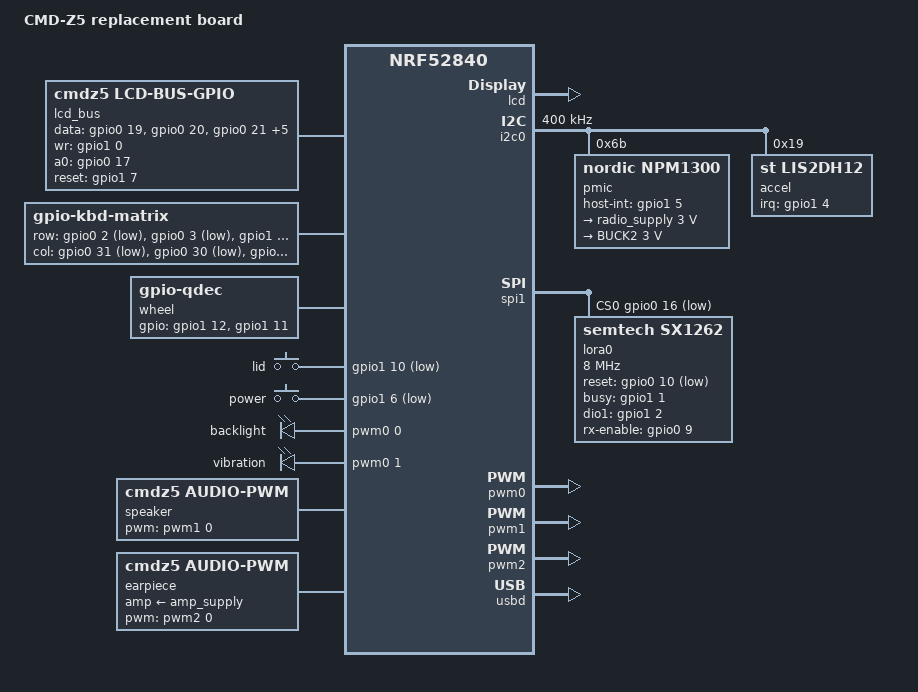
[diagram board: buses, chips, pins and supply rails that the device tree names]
/*
 * CMD-Z5 replacement board: nRF52840, Wio-SX1262, nPM1300, LIS2DH12,
 * TBS M10N GPS, original Sony CMD-Z5 display, keypad, wheel, speakers.
 * Hardware description: ../../../../board/README.md
 */

/dts-v1/;
#include <nordic/nrf52840_qiaa.dtsi>
#include <zephyr/dt-bindings/input/input-event-codes.h>
#include <zephyr/dt-bindings/input/keymap.h>
#include <zephyr/dt-bindings/lora/sx126x.h>
#include <zephyr/dt-bindings/regulator/npm13xx.h>
#include <dt-bindings/cmdz5/keys.h>
#include "cmdz5_nrf52840-pinctrl.dtsi"

/ {
	model = "CMD-Z5 replacement board";
	compatible = "befi,cmdz5";

	chosen {
		zephyr,sram = &sram0;
		zephyr,flash = &flash0;
		zephyr,code-partition = &code_partition;
	};

	/*
	 * Display bus: D0..D7 on consecutive pins P0.19..P0.26 for single
	 * masked port writes. /CS, CS and pin 9 are tied on the board.
	 */
	lcd_bus: lcd-bus {
		compatible = "cmdz5,lcd-bus-gpio";
		data-gpios = <&gpio0 19 0>, <&gpio0 20 0>, <&gpio0 21 0>, <&gpio0 22 0>,
			     <&gpio0 23 0>, <&gpio0 24 0>, <&gpio0 25 0>, <&gpio0 26 0>;
		wr-gpios = <&gpio1 0 0>;
		a0-gpios = <&gpio0 17 0>;
		reset-gpios = <&gpio1 7 0>;

		lcd: lcd {
			compatible = "sony,cmdz5-lcd";
			power-supply = <&lcd_supply>;
		};
	};

	/* 4 x 5 matrix; columns driven low one at a time, rows read with pull-ups. */
	kbd: kbd-matrix {
		compatible = "gpio-kbd-matrix";
		row-gpios = <&gpio0 2 (GPIO_PULL_UP | GPIO_ACTIVE_LOW)>,
			    <&gpio0 3 (GPIO_PULL_UP | GPIO_ACTIVE_LOW)>,
			    <&gpio1 15 (GPIO_PULL_UP | GPIO_ACTIVE_LOW)>,
			    <&gpio1 14 (GPIO_PULL_UP | GPIO_ACTIVE_LOW)>,
			    <&gpio1 13 (GPIO_PULL_UP | GPIO_ACTIVE_LOW)>;
		col-gpios = <&gpio0 31 GPIO_ACTIVE_LOW>,
			    <&gpio0 30 GPIO_ACTIVE_LOW>,
			    <&gpio0 29 GPIO_ACTIVE_LOW>,
			    <&gpio0 28 GPIO_ACTIVE_LOW>;

		keymap {
			compatible = "input-keymap";
			keymap = <MATRIX_KEY(0, 0, INPUT_KEY_1)
				  MATRIX_KEY(0, 1, INPUT_KEY_2)
				  MATRIX_KEY(0, 2, INPUT_KEY_3)
				  MATRIX_KEY(0, 3, CMDZ5_KEY_CALL)
				  MATRIX_KEY(1, 0, INPUT_KEY_4)
				  MATRIX_KEY(1, 1, INPUT_KEY_5)
				  MATRIX_KEY(1, 2, INPUT_KEY_6)
				  MATRIX_KEY(1, 3, CMDZ5_KEY_MEMO)
				  MATRIX_KEY(2, 0, INPUT_KEY_7)
				  MATRIX_KEY(2, 1, INPUT_KEY_8)
				  MATRIX_KEY(2, 2, INPUT_KEY_9)
				  MATRIX_KEY(2, 3, INPUT_KEY_BACKSPACE)
				  MATRIX_KEY(3, 0, CMDZ5_KEY_STAR)
				  MATRIX_KEY(3, 1, INPUT_KEY_0)
				  MATRIX_KEY(3, 2, CMDZ5_KEY_POUND)
				  MATRIX_KEY(4, 0, INPUT_KEY_PAGEDOWN)
				  MATRIX_KEY(4, 1, INPUT_KEY_PAGEUP)
				  MATRIX_KEY(4, 2, INPUT_KEY_ENTER)>;
			row-size = <5>;
			col-size = <4>;
		};
	};

	/* Rotary wheel; the direction may need swapping once tested. */
	wheel: wheel {
		compatible = "gpio-qdec";
		gpios = <&gpio1 12 (GPIO_PULL_UP | GPIO_ACTIVE_HIGH)>,
			<&gpio1 11 (GPIO_PULL_UP | GPIO_ACTIVE_HIGH)>;
		steps-per-period = <4>;
		zephyr,axis = <INPUT_REL_WHEEL>;
		sample-time-us = <2000>;
		idle-timeout-ms = <200>;
	};

	buttons {
		compatible = "gpio-keys";

		/* 4.7-10 MOhm external pull-up: no internal pull-up (it would draw ~230 uA). */
		lid {
			gpios = <&gpio1 10 GPIO_ACTIVE_LOW>;
			zephyr,code = <CMDZ5_KEY_LID>;
		};

		/* Shared with nPM1300 SHPHLD through a BAT54C. */
		power {
			gpios = <&gpio1 6 (GPIO_PULL_UP | GPIO_ACTIVE_LOW)>;
			zephyr,code = <INPUT_KEY_POWER>;
		};
	};

	pwmleds {
		compatible = "pwm-leds";

		/* Board LEDs and keyboard flex LEDs on one low-side switch. */
		backlight: backlight {
			pwms = <&pwm0 0 PWM_USEC(50) PWM_POLARITY_NORMAL>;
		};

		vibration: vibration {
			pwms = <&pwm0 1 PWM_USEC(50) PWM_POLARITY_NORMAL>;
		};
	};

	speaker: speaker {
		compatible = "cmdz5,audio-pwm";
		pwms = <&pwm1 0 PWM_HZ(1000) PWM_POLARITY_NORMAL>;
	};

	earpiece: earpiece {
		compatible = "cmdz5,audio-pwm";
		pwms = <&pwm2 0 PWM_HZ(1000) PWM_POLARITY_NORMAL>;
		amp-supply = <&amp_supply>;
	};
};

&reg1 {
	regulator-initial-mode = <NRF5X_REG_MODE_DCDC>;
};

&uicr {
	/* P0.09/P0.10 drive the SX1262 RF switch and reset. */
	nfct-pins-as-gpios;
	gpio-as-nreset;
};

&gpiote {
	status = "okay";
};

&gpio0 {
	status = "okay";
};

&gpio1 {
	status = "okay";
};

&i2c0 {
	compatible = "nordic,nrf-twim";
	status = "okay";
	clock-frequency = <I2C_BITRATE_FAST>;
	pinctrl-0 = <&i2c0_default>;
	pinctrl-1 = <&i2c0_sleep>;
	pinctrl-names = "default", "sleep";

	pmic: pmic@6b {
		compatible = "nordic,npm1300";
		reg = <0x6b>;
		host-int-gpios = <&gpio1 5 0>;
		pmic-int-pin = <0>;
		/* Power key on SHPHLD: hold about 1 s to switch on from ship mode. */
		ship-to-active-time-ms = <1008>;

		/* GPIO0 = interrupt to the nRF, GPIO1 = microphone supply. */
		pmic_gpio: gpio-controller {
			compatible = "nordic,npm1300-gpio";
			gpio-controller;
			#gpio-cells = <2>;
			ngpios = <5>;
		};

		regulators {
			compatible = "nordic,npm1300-regulator";

			/* Wio-SX1262, off at boot (VSET1 grounded). */
			radio_supply: BUCK1 {
				regulator-min-microvolt = <3000000>;
				regulator-max-microvolt = <3000000>;
			};

			/* Main 3.0 V rail (nRF52840, LIS2DH12), set by VSET2. */
			BUCK2 {
				regulator-min-microvolt = <3000000>;
				regulator-max-microvolt = <3000000>;
				regulator-boot-on;
				regulator-always-on;
			};

			/* LSOUT1: display supply. */
			lcd_supply: LDO1 {
				regulator-initial-mode = <NPM13XX_LDSW_MODE_LDSW>;
			};

			/* LSOUT2: earpiece amplifier supply. */
			amp_supply: LDO2 {
				regulator-initial-mode = <NPM13XX_LDSW_MODE_LDSW>;
			};
		};

		/* The battery has no thermistor contact; NTC is tied to GND. */
		charger: charger {
			compatible = "nordic,npm1300-charger";
			term-microvolt = <4200000>;
			current-microamp = <150000>;
			dischg-limit-microamp = <1000000>;
			vbus-limit-microamp = <500000>;
			thermistor-ohms = <0>;
			thermistor-beta = <3380>;
			charging-enable;
		};
	};

	accel: accel@19 {
		compatible = "st,lis2dh12", "st,lis2dh";
		reg = <0x19>;
		irq-gpios = <&gpio1 4 GPIO_ACTIVE_HIGH>;
	};
};

&spi1 {
	compatible = "nordic,nrf-spim";
	status = "okay";
	cs-gpios = <&gpio0 16 GPIO_ACTIVE_LOW>;
	pinctrl-0 = <&spi1_default>;
	pinctrl-1 = <&spi1_sleep>;
	pinctrl-names = "default", "sleep";

	/* Powered from BUCK1, which firmware must enable before using the radio. */
	lora0: lora@0 {
		compatible = "semtech,sx1262";
		reg = <0>;
		spi-max-frequency = <8000000>;
		reset-gpios = <&gpio0 10 GPIO_ACTIVE_LOW>;
		busy-gpios = <&gpio1 1 GPIO_ACTIVE_HIGH>;
		dio1-gpios = <&gpio1 2 GPIO_ACTIVE_HIGH>;
		rx-enable-gpios = <&gpio0 9 GPIO_ACTIVE_HIGH>;
		dio2-tx-enable;
		dio3-tcxo-voltage = <SX126X_DIO3_TCXO_1V8>;
		tcxo-power-startup-delay-ms = <5>;
	};
};

/*
 * GPS UART (TBS M10N, powered through the 5 V boost on P1.03). Disabled until
 * the GPS service switches the boost and the pins together; an idle-high TX
 * line would back-power the unpowered module.
 */
&uart0 {
	compatible = "nordic,nrf-uarte";
	status = "disabled";
	current-speed = <38400>;
	pinctrl-0 = <&uart0_default>;
	pinctrl-1 = <&uart0_sleep>;
	pinctrl-names = "default", "sleep";
};

&pwm0 {
	status = "okay";
	pinctrl-0 = <&pwm0_default>;
	pinctrl-1 = <&pwm0_sleep>;
	pinctrl-names = "default", "sleep";
};

&pwm1 {
	status = "okay";
	pinctrl-0 = <&pwm1_default>;
	pinctrl-1 = <&pwm1_sleep>;
	pinctrl-names = "default", "sleep";
};

&pwm2 {
	status = "okay";
	pinctrl-0 = <&pwm2_default>;
	pinctrl-1 = <&pwm2_sleep>;
	pinctrl-names = "default", "sleep";
};

&usbd {
	status = "okay";
};

/*
 * Flash layout (1 MB). No bootloader yet: the application starts at 0.
 * With MCUboot, code_partition is split into the bootloader (48 KB) and the
 * application slot.
 */
&flash0 {
	partitions {
		ranges;
		#address-cells = <1>;
		#size-cells = <1>;

		code_partition: partition@0 {
			compatible = "zephyr,mapped-partition";
			label = "app";
			reg = <0x00000000 0x00088000>;
		};

		/* Predictive text language models (read-only, updated separately). */
		lm_partition: partition@88000 {
			compatible = "zephyr,mapped-partition";
			label = "lm";
			reg = <0x00088000 0x00058000>;
		};

		/* Settings. */
		storage_partition: partition@e0000 {
			compatible = "zephyr,mapped-partition";
			label = "storage";
			reg = <0x000e0000 0x00008000>;
		};

		/* LittleFS: messages, node database, user dictionary. */
		lfs_partition: partition@e8000 {
			compatible = "zephyr,mapped-partition";
			label = "lfs";
			reg = <0x000e8000 0x00018000>;
		};
	};
};
